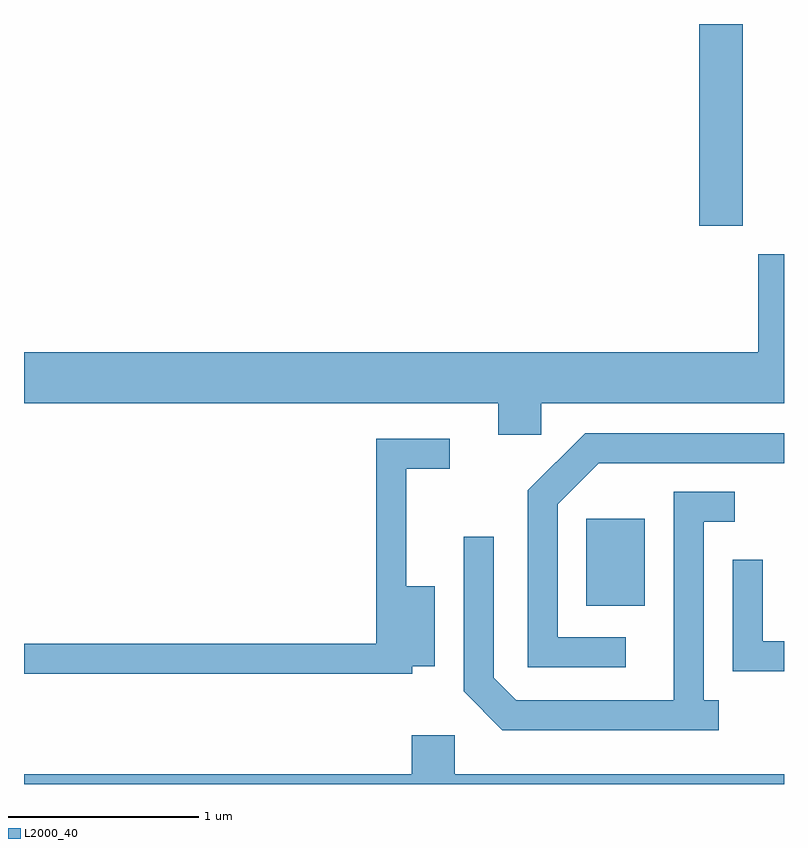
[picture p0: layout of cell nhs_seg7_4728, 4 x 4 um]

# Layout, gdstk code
import gdstk
lib = gdstk.Library(unit=1e-6, precision=1e-09)
def R(c, l, rs):  # rectangles x0, y0, x1, y1
    for r in rs: c.add(gdstk.rectangle(r[:2], r[2:], *l))
def P(c, l, *ps):  # polygons
    for p in ps: c.add(gdstk.Polygon(p, *l))
L2000_40 = (2000, 40)

nhs_seg7_4728 = lib.new_cell('nhs_seg7_4728')
R(nhs_seg7_4728, L2000_40, [(332.571,1773.191,332.879,1773.649), (333.166,1775.191,333.394,1776.252)])
P(nhs_seg7_4728, L2000_40, [(332.334,1774.256),(333.611,1774.256),(333.611,1775.039),(333.476,1775.039),(333.476,1774.524),(329.611,1774.524),(329.611,1774.256),(332.106,1774.256),(332.106,1774.091),(332.334,1774.091)],
  [(332.778,1773.024),(332.419,1773.024),(332.419,1773.724),(332.637,1773.941),(333.611,1773.941),(333.611,1774.099),(332.564,1774.099),(332.261,1773.797),(332.261,1772.866),(332.778,1772.866)],
  [(331.654,1772.871),(331.774,1772.871),(331.774,1773.294),(331.624,1773.294),(331.624,1773.911),(331.853,1773.911),(331.853,1774.069),(331.466,1774.069),(331.466,1772.989),(329.611,1772.989),(329.611,1772.831),(331.654,1772.831)],
  [(333.268,1772.694),(333.189,1772.694),(333.189,1773.631),(333.353,1773.631),(333.353,1773.789),(333.031,1773.789),(333.031,1772.694),(332.202,1772.694),(332.084,1772.812),(332.084,1773.553),(331.926,1773.553),(331.926,1772.739),(332.129,1772.536),(333.268,1772.536)],
  [(333.611,1773.004),(333.499,1773.004),(333.499,1773.433),(333.341,1773.433),(333.341,1772.846),(333.611,1772.846)],
  [(333.611,1772.304),(331.879,1772.304),(331.879,1772.509),(331.651,1772.509),(331.651,1772.304),(329.611,1772.304),(329.611,1772.252),(333.611,1772.252)])

lib.write_gds('nhs_seg7_4728.gds')
